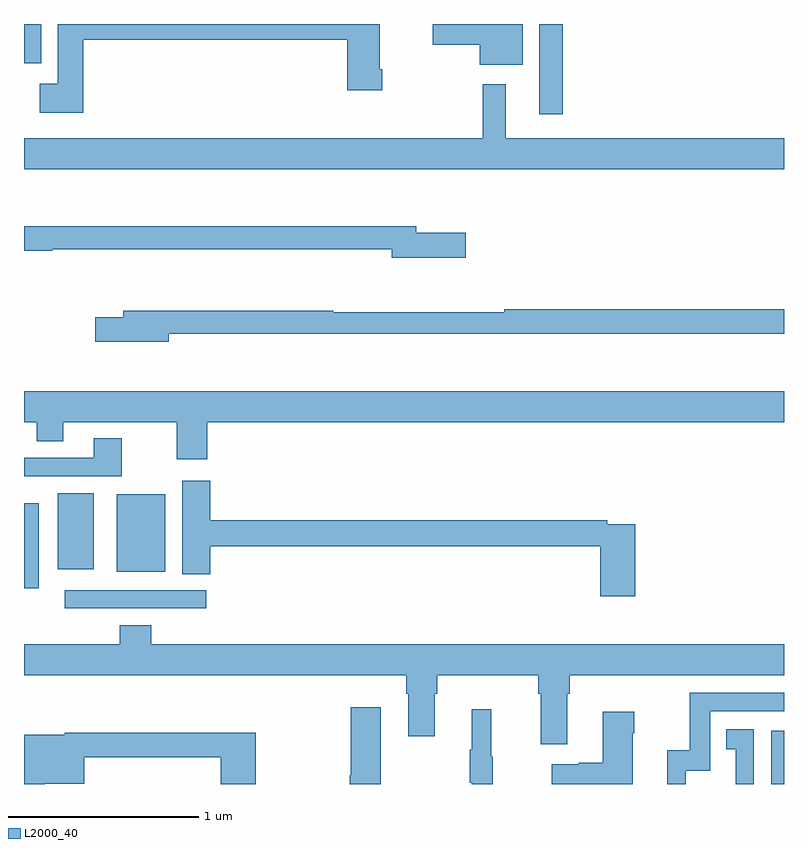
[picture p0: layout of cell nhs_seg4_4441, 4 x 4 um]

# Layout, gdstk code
import gdstk
lib = gdstk.Library(unit=1e-6, precision=1e-09)
def R(c, l, rs):  # rectangles x0, y0, x1, y1
    for r in rs: c.add(gdstk.rectangle(r[:2], r[2:], *l))
def P(c, l, *ps):  # polygons
    for p in ps: c.add(gdstk.Polygon(p, *l))
L2000_40 = (2000, 40)

nhs_seg4_4441 = lib.new_cell('nhs_seg4_4441')
R(nhs_seg4_4441, L2000_40, [(352.932,810.9,353,811.179), (349.215,811.824,349.96,811.92), (349,811.929,349.078,812.377), (349.487,812.018,349.744,812.425), (349.178,812.03,349.366,812.431), (351.713,814.425,351.835,814.9), (349,814.694,349.09,814.9)])
P(nhs_seg4_4441, L2000_40, [(349.313,814.816),(350.702,814.816),(350.702,814.551),(350.885,814.551),(350.885,814.663),(350.872,814.663),(350.872,814.9),(349.178,814.9),(349.178,814.585),(349.083,814.585),(349.083,814.433),(349.313,814.433)],
  [(351.625,814.9),(351.15,814.9),(351.15,814.792),(351.398,814.792),(351.398,814.685),(351.625,814.685)],
  [(353,814.3),(351.535,814.3),(351.535,814.582),(351.414,814.582),(351.414,814.3),(349,814.3),(349,814.136),(353,814.136)],
  [(351.325,813.801),(351.064,813.801),(351.064,813.835),(349,813.835),(349,813.706),(349.148,813.706),(349.148,813.714),(350.936,813.714),(350.936,813.671),(351.325,813.671)],
  [(349.762,813.27),(353,813.27),(353,813.398),(351.527,813.398),(351.527,813.383),(350.627,813.383),(350.627,813.391),(349.523,813.391),(349.523,813.357),(349.374,813.357),(349.374,813.227),(349.762,813.227)],
  [(349.964,812.804),(353,812.804),(353,812.968),(349,812.968),(349,812.804),(349.067,812.804),(349.067,812.705),(349.207,812.705),(349.207,812.804),(349.804,812.804),(349.804,812.61),(349.964,812.61)],
  [(349.515,812.719),(349.367,812.719),(349.367,812.616),(349,812.616),(349,812.52),(349.515,812.52)],
  [(352.217,812.268),(352.07,812.268),(352.07,812.288),(349.979,812.288),(349.979,812.497),(349.832,812.497),(349.832,812.005),(349.979,812.005),(349.979,812.152),(352.034,812.152),(352.034,811.887),(352.217,811.887)],
  [(351.859,811.376),(351.872,811.376),(351.872,811.472),(353,811.472),(353,811.636),(349.67,811.636),(349.67,811.735),(349.505,811.735),(349.505,811.636),(349,811.636),(349,811.472),(351.011,811.472),(351.011,811.376),(351.023,811.376),(351.023,811.152),(351.163,811.152),(351.163,811.376),(351.176,811.376),(351.176,811.472),(351.707,811.472),(351.707,811.376),(351.719,811.376),(351.719,811.11),(351.859,811.11)],
  [(352.482,810.969),(352.611,810.969),(352.611,811.284),(353,811.284),(353,811.38),(352.503,811.38),(352.503,811.078),(352.385,811.078),(352.385,810.9),(352.482,810.9)],
  [(350.878,811.303),(350.72,811.303),(350.72,810.945),(350.714,810.945),(350.714,810.9),(350.878,810.9)],
  [(351.466,811.044),(351.458,811.044),(351.458,811.294),(351.356,811.294),(351.356,811.081),(351.345,811.081),(351.345,810.907),(351.356,810.907),(351.356,810.9),(351.466,810.9)],
  [(352.204,811.166),(352.212,811.166),(352.212,811.279),(352.046,811.279),(352.046,811.013),(351.92,811.013),(351.92,811.003),(351.777,811.003),(351.777,810.9),(352.204,810.9)],
  [(352.842,811.189),(352.696,811.189),(352.696,811.083),(352.745,811.083),(352.745,810.9),(352.842,810.9)],
  [(349.109,810.902),(349.318,810.902),(349.318,811.042),(350.036,811.042),(350.036,810.9),(350.219,810.9),(350.219,811.171),(349.214,811.171),(349.214,811.159),(349,811.159),(349,810.9),(349.109,810.9)])

lib.write_gds('nhs_seg4_4441.gds')
